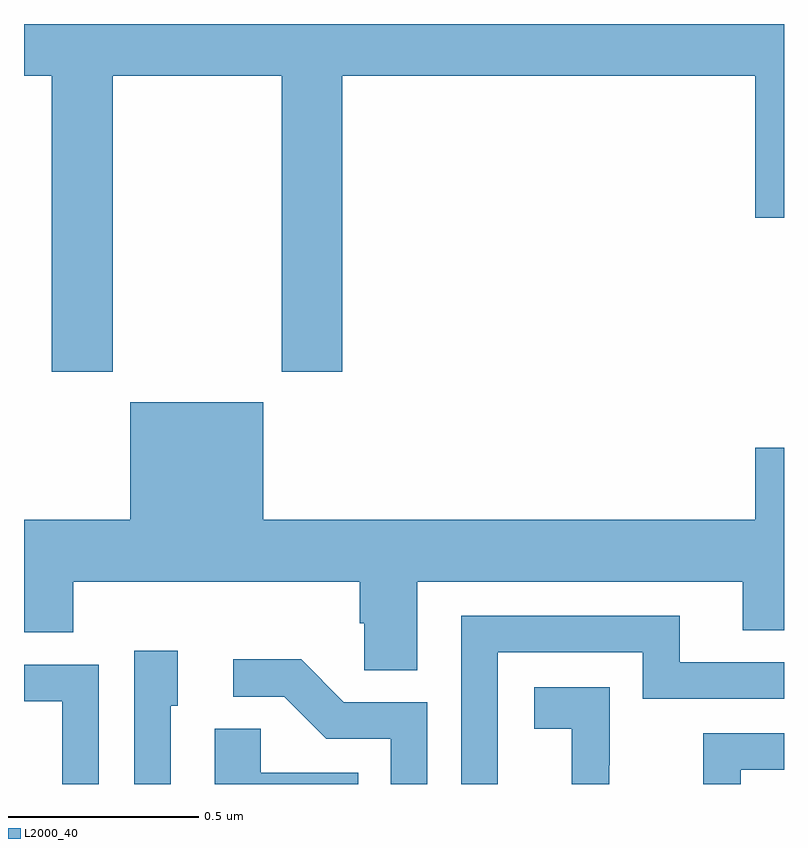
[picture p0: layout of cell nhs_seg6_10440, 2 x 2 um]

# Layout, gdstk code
import gdstk
lib = gdstk.Library(unit=1e-6, precision=1e-09)
def P(c, l, *ps):  # polygons
    for p in ps: c.add(gdstk.Polygon(p, *l))
L2000_40 = (2000, 40)

nhs_seg6_10440 = lib.new_cell('nhs_seg6_10440')
P(nhs_seg6_10440, L2000_40, [(247.233,919.364),(247.678,919.364),(247.678,918.585),(247.838,918.585),(247.838,919.364),(248.924,919.364),(248.924,918.99),(249,918.99),(249,919.5),(247,919.5),(247,919.364),(247.073,919.364),(247.073,918.585),(247.233,918.585)],
  [(248.035,918.032),(248.891,918.032),(248.891,917.905),(249,917.905),(249,918.385),(248.924,918.385),(248.924,918.196),(247.63,918.196),(247.63,918.505),(247.28,918.505),(247.28,918.196),(247,918.196),(247,917.899),(247.13,917.899),(247.13,918.032),(247.883,918.032),(247.883,917.923),(247.896,917.923),(247.896,917.8),(248.035,917.8)],
  [(248.247,917.847),(248.628,917.847),(248.628,917.724),(249,917.724),(249,917.82),(248.725,917.82),(248.725,917.943),(248.151,917.943),(248.151,917.5),(248.247,917.5)],
  [(247.386,917.706),(247.405,917.706),(247.405,917.851),(247.29,917.851),(247.29,917.5),(247.386,917.5)],
  [(248.061,917.715),(247.842,917.715),(247.729,917.828),(247.551,917.828),(247.551,917.73),(247.685,917.73),(247.796,917.619),(247.965,917.619),(247.965,917.5),(248.061,917.5)],
  [(247.197,917.814),(247,917.814),(247,917.718),(247.101,917.718),(247.101,917.5),(247.197,917.5)],
  [(248.54,917.549),(248.541,917.549),(248.541,917.755),(248.343,917.755),(248.343,917.645),(248.441,917.645),(248.441,917.5),(248.54,917.5)],
  [(247.88,917.53),(247.623,917.53),(247.623,917.645),(247.502,917.645),(247.502,917.5),(247.88,917.5)],
  [(248.886,917.538),(249,917.538),(249,917.634),(248.788,917.634),(248.788,917.5),(248.886,917.5)])

lib.write_gds('nhs_seg6_10440.gds')
